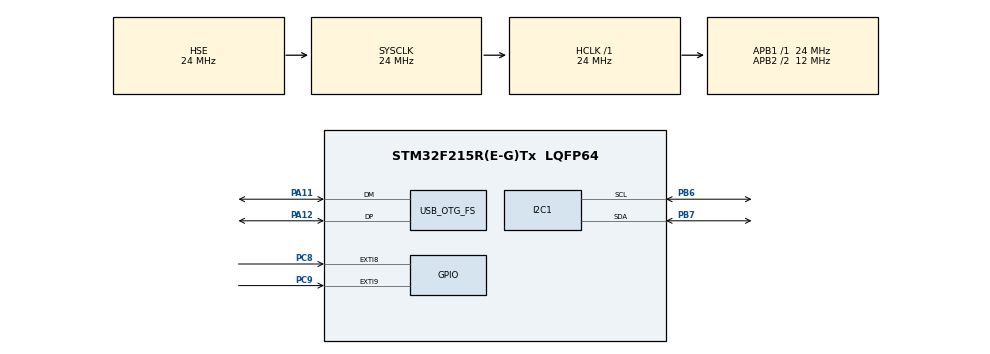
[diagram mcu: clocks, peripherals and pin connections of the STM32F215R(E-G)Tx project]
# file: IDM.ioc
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HASH.DataType=HASH_DATATYPE_8B
HASH.SecureHashAlgorithmType=SHA1
Mcu.Family=STM32F2
Mcu.Name=STM32F215R(E-G)Tx
Mcu.Package=LQFP64
NVIC.EXTI9_5_IRQn=true\:0\:0\:false\:false\:true\:true\:true
NVIC.OTG_FS_IRQn=true\:0\:0\:false\:false\:true\:false\:true
NVIC.PriorityGroup=NVIC_PRIORITYGROUP_4
NVIC.TIM6_DAC_IRQn=true\:0\:0\:false\:false\:true\:true\:true
PA11.Mode=Device_Only
PA11.Signal=USB_OTG_FS_DM
PA12.Mode=Device_Only
PA12.Signal=USB_OTG_FS_DP
PB6.Mode=I2C
PB6.Signal=I2C1_SCL
PB7.Mode=I2C
PB7.Signal=I2C1_SDA
PC8.Signal=GPXTI8
PC9.Signal=GPXTI9
PH0-OSC_IN.Mode=HSE-External-Oscillator
PH0-OSC_IN.Signal=RCC_OSC_IN
PH1-OSC_OUT.Mode=HSE-External-Oscillator
PH1-OSC_OUT.Signal=RCC_OSC_OUT
ProjectManager.HeapSize=0x200
ProjectManager.StackSize=0x400
ProjectManager.TargetToolchain=STM32CubeIDE
RCC.48MHZClocksFreq_Value=48000000
RCC.AHBFreq_Value=24000000
RCC.APB1Freq_Value=24000000
RCC.APB1TimFreq_Value=24000000
RCC.APB2CLKDivider=RCC_HCLK_DIV2
RCC.APB2Freq_Value=12000000
RCC.APB2TimFreq_Value=24000000
RCC.CortexFreq_Value=24000000
RCC.HCLKFreq_Value=24000000
RCC.HSE_VALUE=24000000
RCC.HSI_VALUE=16000000
RCC.LSE_VALUE=32768
RCC.PLLM=12
RCC.PLLP=RCC_PLLP_DIV4
RCC.PLLQ=8
RCC.PLLSourceVirtual=RCC_PLLSOURCE_HSE
RCC.SYSCLKFreq_VALUE=24000000
RCC.SYSCLKSource=RCC_SYSCLKSOURCE_HSE
RCC.VCOOutputFreq_Value=384000000
TIM6.Period=10
TIM6.Prescaler=24000
TIM6.TIM_MasterOutputTrigger=TIM_TRGO_UPDATE
USB_DEVICE.APP_RX_DATA_SIZE-CDC_FS=256
USB_DEVICE.APP_TX_DATA_SIZE-CDC_FS=256
USB_DEVICE.CLASS_NAME_FS=CDC
USB_DEVICE.USBD_MAX_STR_DESC_SIZ-CDC_FS=128
USB_DEVICE.VirtualMode-CDC_FS=Cdc
USB_DEVICE.VirtualModeFS=Cdc_FS
USB_OTG_FS.VirtualMode=Device_Only
VP_CRC_VS_CRC.Mode=CRC_Activate
VP_CRYP_VS_CRYP.Mode=CRYP_Activate
VP_HASH_VS_HASH.Mode=HASH_Activate
VP_RNG_VS_RNG.Mode=RNG_Activate
VP_TIM6_VS_ClockSourceINT.Mode=Enable_Timer
VP_USB_DEVICE_VS_USB_DEVICE_CDC_FS.Mode=CDC_FS
board=custom

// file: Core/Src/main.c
/* USER CODE BEGIN Header */
/**
 ******************************************************************************
 * @file           : main.c
 * @brief          : Main program body
 ******************************************************************************
 * @attention
 *
 * <h2><center>&copy; Copyright (c) 2020 STMicroelectronics.
 * All rights reserved.</center></h2>
 *
 * This software component is licensed by ST under BSD 3-Clause license,
 * the "License"; You may not use this file except in compliance with the
 * License. You may obtain a copy of the License at:
 *                        opensource.org/licenses/BSD-3-Clause
 *
 ******************************************************************************
 */
/* USER CODE END Header */

#include "main.h"
#include "usb_device.h"

/* USER CODE BEGIN Includes */
#include "data.h"

/* USER CODE END Includes */

CRC_HandleTypeDef hcrc;

CRYP_HandleTypeDef hcryp;
__ALIGN_BEGIN static const uint32_t pKeyCRYP[6] __ALIGN_END = { 0x00000000,
		0x00000000, 0x00000000, 0x00000000, 0x00000000, 0x00000000 };

HASH_HandleTypeDef hhash;

I2C_HandleTypeDef hi2c1;

RNG_HandleTypeDef hrng;

TIM_HandleTypeDef htim6;

/* USER CODE BEGIN PV */

char ghf[64];
uint16_t dictionarySeze = 500;
char *wordsForPassFrase[] = { "aiken", "durga", "essen", "evers", "haiti",
		"horus", "issus", "kamet", "klimt", "laius", "locke", "lorre", "lowry",
		"mamet", "marti", "medea", "niger", "oates", "potos", "quito", "senor",
		"turin", "ushas", "wells", "aboil", "acari", "acoma", "actin", "adage",
		"adeem", "adfix", "adion", "afore", "agasp", "aglet", "alans", "albin",
		"algic", "alody", "amide", "ample", "ancon", "anker", "annat", "annie",
		"anous", "aoife", "aotes", "argil", "aries", "arkab", "arneb", "artal",
		"arvel", "arzan", "astay", "atter", "avoid", "awash", "axion", "axoid",
		"ayond", "bache", "bahay", "bajra", "balai", "baloo", "bando", "barbe",
		"bayal", "beamy", "becut", "bedad", "beget", "belga", "bemad", "benne",
		"betta", "bezel", "birle", "blast", "blimp", "bloat", "bocal", "bodge",
		"bonny", "boose", "boral", "bortz", "bosom", "brass", "bring", "broll",
		"buddy", "bully", "bushy", "butch", "cajun", "canna", "canoe", "carol",
		"carse", "carya", "cased", "casse", "catti", "celom", "chaya", "cheve",
		"chips", "choel", "claim", "clary", "claut", "clava", "cleek", "cloot",
		"clove", "clump", "coapt", "cobia", "cobus", "cogue", "colla", "comma",
		"copsy", "corps", "covet", "crash", "cress", "creta", "crete", "croci",
		"daffy", "dafla", "darer", "deign", "denda", "dewey", "diner", "dinus",
		"disco", "dixit", "dizzy", "domal", "douar", "dover", "dreng", "dropt",
		"drown", "drunk", "dural", "dusun", "easer", "echis", "elmer", "elops",
		"elute", "elves", "embed", "emcee", "emmer", "envoy", "erian", "erick",
		"erose", "erupt", "every", "exdie", "fanon", "fanti", "fanwe", "fatal",
		"favus", "fedia", "feint", "fesse", "fiard", "finer", "fiver", "flame",
		"flare", "flary", "fleam", "fleet", "flesh", "flong", "foaly", "fogle",
		"forth", "fosse", "found", "freed", "freit", "fresh", "fritt", "frizz",
		"fubsy", "futon", "gaine", "ganch", "gatch", "genin", "genus", "gipon",
		"gippy", "given", "glaik", "gland", "glazy", "gledy", "gloom", "goban",
		"golee", "gorra", "gourd", "gouty", "grail", "grebo", "gripy", "gugal",
		"gypsy", "habit", "halse", "harpa", "herne", "hevea", "hocky", "howso",
		"humph", "ictic", "iddat", "idose", "illth", "imber", "infer", "inlaw",
		"innet", "input", "irfan", "irone", "itchy", "jaman", "jamie", "jenny",
		"jural", "kafiz", "kanji", "kapai", "kappe", "keleh", "kench", "khaya",
		"khoja", "kissy", "klosh", "known", "kodro", "kokio", "krems", "lacer",
		"lacet", "lairy", "lammy", "larch", "large", "lever", "ligas", "lived",
		"lobed", "loner", "lotta", "louey", "lowth", "lucan", "luigi", "lyard",
		"maggy", "mahdi", "maidy", "mamma", "manei", "mapau", "masty", "mayan",
		"mease", "merak", "merop", "metal", "metol", "miaul", "mikie", "minty",
		"misty", "moity", "mossy", "mourn", "moyen", "muffy", "namda", "nanes",
		"nanga", "nasch", "nasty", "navar", "nayar", "nazir", "nigre", "niqab",
		"niter", "norie", "nunni", "nuque", "nyxis", "oasal", "oasis", "ohmic",
		"onymy", "otary", "oxbow", "oxlip", "pacer", "padre", "padus", "palar",
		"palpi", "parra", "parse", "parts", "pasmo", "patly", "peasy", "peaty",
		"pedal", "peggy", "pekan", "penta", "pesky", "phase", "pinko", "pinky",
		"pinny", "plaga", "plaid", "plica", "plyer", "pokom", "pommy", "poria",
		"prase", "pudic", "puppy", "quart", "quoit", "raggy", "raker", "raman",
		"raphe", "rapic", "rebid", "rebus", "refan", "renet", "repew", "resay",
		"rewed", "richt", "rinse", "rohob", "rondo", "royal", "runed", "ryder",
		"sabra", "salma", "samen", "sanai", "sandy", "savor", "schwa", "sclaw",
		"scope", "scout", "scrim", "segno", "senci", "septi", "seral", "sereh",
		"serum", "seven", "shahi", "shiko", "shire", "shive", "shoya", "sided",
		"sidth", "sigeh", "simar", "sinew", "sirih", "skank", "skill", "slent",
		"slive", "snafu", "snake", "sneap", "spale", "spang", "spece", "sprig",
		"squab", "steri", "stilt", "stoff", "stong", "stosh", "strag", "stree",
		"strow", "stunk", "sturt", "suant", "suety", "surfy", "swile", "swoop",
		"tahil", "taich", "taler", "tangi", "tanti", "tanzy", "taraf", "techy",
		"tellt", "tenty", "terce", "terse", "tetum", "thatn", "thawy", "thymy",
		"tilde", "titar", "tizzy", "toity", "toned", "tongs", "torah", "torma",
		"trill", "trixy", "trope", "truck", "tryst", "tufty", "tumor", "turco",
		"uinal", "unhad", "unhid", "unket", "upend", "urare", "ureic", "utick",
		"vagas", "valve", "vealy", "vepse", "vibex", "vicar", "virtu", "volet",
		"volva", "vuggy", "wabby", "walth", "waltz", "wamus", "wawah", "weaky",
		"wendy", "whalp", "wheen", "while", "wined", "wings", "wisse", "words",
		"wrack", "wrive", "xylon", "yummy", "zanze", "ziega", "zonta" };

/* USER CODE END PV */

void SystemClock_Config(void);
static void MX_GPIO_Init(void);
static void MX_CRYP_Init(void);
static void MX_HASH_Init(void);
static void MX_I2C1_Init(void);
static void MX_RNG_Init(void);
static void MX_CRC_Init(void);
static void MX_TIM6_Init(void);

int main(void) {

	/* MCU Configuration--------------------------------------------------------*/

	/* Reset of all peripherals, Initializes the Flash interface and the Systick. */
	HAL_Init();

	/* Configure the system clock */
	SystemClock_Config();

	/* Initialize all configured peripherals */
	MX_GPIO_Init();
	MX_CRYP_Init();
	MX_HASH_Init();
	MX_I2C1_Init();
	MX_RNG_Init();
	MX_CRC_Init();
	MX_USB_DEVICE_Init();
	MX_TIM6_Init();
	/* USER CODE BEGIN 2 */
	ssd1306_Init();
	ssd1306_Fill(Black);
	uint8_t check = 0;
	uint8_t lokalcheck = 1;

	initConstants();

	ssd1306_UpdateScreen();

	HAL_Delay(500);
	if (isInit == 0) {
		deviceIsntInit();
	}

	else {
		if (ProtectType == 0) {
			Unlocked = 1;
			menuStatus = 1;
			initMenu();
		} else if (ProtectType == 1) {

			setPasswordStep2 = 1;
			passwordInputStatus = 1;
			setPasswordProcess2();
		} else if (ProtectType == 2) {

			ssd1306_Fill(Black);
			ssd1306_SetCursor(2, 2);
			ssd1306_WriteString("Conect device to", Font_7x10, White);
			ssd1306_SetCursor(2, 12);
			ssd1306_WriteString("your safe PC", Font_7x10, White);
			ssd1306_UpdateScreen();
			//

		} else if (ProtectType == 3) {

			ssd1306_Fill(Black);
			ssd1306_SetCursor(2, 2);
			ssd1306_WriteString("Conect device to", Font_7x10, White);
			ssd1306_SetCursor(2, 12);
			ssd1306_WriteString("your safe PC", Font_7x10, White);
			ssd1306_UpdateScreen();
			//

		}

	}

	/* USER CODE END 2 */

	/* Infinite loop */
	while (1) {

		/* USER CODE BEGIN 3 */

		HAL_Delay(300);
		if (dataReciveBufer[0] != 0) {
			//начать инициацию

			if (dataReciveBufer[0] == 'P') {

				if (M5PCIDdefaultIsGetted == 0) {
					for (uint8_t i = 0; i < 24; i++) {
						PCIDbuf[i] = dataReciveBufer[i + 2];
					}
					for (uint8_t i = 0; i < 24; i++) {
						PCIDOne[i] = PCIDbuf[i];
					}
					M5PCIDdefaultIsGetted = 1;
					M5PPCIDCount = 1;

					uploadPCIDmas();
					uploadPCIDcount();
					uploadIsfirstPC();
					CDC_Transmit_FS("OK", 2);

					initStatus = 1;
					initChoseProcess();
				} else if (addDeviceEnable == 1) {
					for (uint8_t i = 0; i < 24; i++) {
						PCIDbuf[i] = dataReciveBufer[i + 2];
					}
					downloadPCIDmas();
					downloadPCIDcount();
					lokalcheck = 1;
					check = 0;
					for (uint8_t i = 0; i < 24; i++) {
						if (PCIDbuf[i] != PCIDOne[i]) {
							check = 1;
						}
					}
					if (check == 0)
						lokalcheck = 0;
					check = 0;
					for (uint8_t i = 0; i < 24; i++) {
						if (PCIDbuf[i] != PCIDSeven[i]) {
							check = 1;
						}
					}
					if (check == 0)
						lokalcheck = 0;
					check = 0;
					for (uint8_t i = 0; i < 24; i++) {
						if (PCIDbuf[i] != PCIDSix[i]) {
							check = 1;
						}
					}
					if (check == 0)
						lokalcheck = 0;
					check = 0;
					for (uint8_t i = 0; i < 24; i++) {
						if (PCIDbuf[i] != PCIDFour[i]) {
							check = 1;
						}
					}
					if (check == 0)
						lokalcheck = 0;
					check = 0;
					for (uint8_t i = 0; i < 24; i++) {
						if (PCIDbuf[i] != PCIDFive[i]) {
							check = 1;
						}
					}
					if (check == 0)
						lokalcheck = 0;

					if (lokalcheck == 1) {
						if (M5PPCIDCount == 1) {
							M5PPCIDCount++;
							//PCIDSeven=PCIDbuf;
							for (uint8_t i = 0; i < 24; i++) {
								PCIDSeven[i] = PCIDbuf[i];
							}
							uploadPCIDmas();
							uploadPCIDcount();
							CDC_Transmit_FS("OK", 2);
						} else if (M5PPCIDCount == 2) {
							M5PPCIDCount++;
							//PCIDSix=PCIDbuf;
							for (uint8_t i = 0; i < 24; i++) {
								PCIDSix[i] = PCIDbuf[i];
							}
							uploadPCIDmas();
							uploadPCIDcount();
							CDC_Transmit_FS("OK", 2);
						} else if (M5PPCIDCount == 3) {
							M5PPCIDCount++;
							//PCIDFour=PCIDbuf;
							for (uint8_t i = 0; i < 24; i++) {
								PCIDFour[i] = PCIDbuf[i];
							}
							uploadPCIDmas();
							uploadPCIDcount();
							CDC_Transmit_FS("OK", 2);
						} else if (M5PPCIDCount == 4) {
							M5PPCIDCount++;
							//PCIDFive=PCIDbuf;
							for (uint8_t i = 0; i < 24; i++) {
								PCIDFive[i] = PCIDbuf[i];
							}
							uploadPCIDmas();
							uploadPCIDcount();
							CDC_Transmit_FS("OK", 2);
						} else if (M5PPCIDCount == 5) {
							CDC_Transmit_FS("Your cant add new device", 26);
						}
						addDeviceEnable = 0;
						uploadaddDeviceEnable();
					} else {
						CDC_Transmit_FS("The device already added", 26);
						addDeviceEnable = 0;
						uploadaddDeviceEnable();
					}
				}

				else {
					for (uint32_t i = 0; i < 24; i++) {
						PCIDbuf[i] = dataReciveBufer[i + 2];
					}
					downloadPCIDmas();
					downloadPCIDcount();
					lokalcheck = 1;
					check = 0;
					for (uint8_t i = 0; i < 24; i++) {
						if (PCIDbuf[i] != PCIDOne[i]) {
							check = 1;
						}
					}
					if (check == 0)
						lokalcheck = 0;
					check = 0;
					for (uint8_t i = 0; i < 24; i++) {
						if (PCIDbuf[i] != PCIDSeven[i]) {
							check = 1;
						}
					}
					if (check == 0)
						lokalcheck = 0;
					check = 0;
					for (uint8_t i = 0; i < 24; i++) {
						if (PCIDbuf[i] != PCIDSix[i]) {
							check = 1;
						}
					}
					if (check == 0)
						lokalcheck = 0;
					check = 0;
					for (uint8_t i = 0; i < 24; i++) {
						if (PCIDbuf[i] != PCIDFour[i]) {
							check = 1;
						}
					}
					if (check == 0)
						lokalcheck = 0;
					check = 0;
					for (uint8_t i = 0; i < 24; i++) {
						if (PCIDbuf[i] != PCIDFive[i]) {
							check = 1;
						}
					}
					if (check == 0)
						lokalcheck = 0;

					if (lokalcheck == 0) {
						CDC_Transmit_FS("OK", 2);
						if (ProtectType == 2) {
							Unlocked = 1;
							menuStatus = 1;
							initMenu();

						} else if (ProtectType == 3) {
							setPasswordStep2 = 1;
							passwordInputStatus = 1;
							setPasswordProcess2();
						}
						//HAL_Delay(1000);
						//CDC_Transmit_FS("NO", 2);
					} else {
						//CDC_Transmit_FS("Your devise is unsuported", 26);
						CDC_Transmit_FS("NO", 2);
					}
				}

				//CDC_Transmit_FS("OK", 2);

			}

			if (Unlocked == 1) {
				//добавить идент. данные
				if (dataReciveBufer[0] == 'N') {
					char str[64] = "";
					uint8_t pasgen[37] = "";
					uint8_t domen[16];
					for (uint32_t i = 0; i < 16; i++) {
						str[i] = dataReciveBufer[i + 18];
						domen[i] = dataReciveBufer[i + 18];
					}
					downloadPrivate();
					//uint8_t pasgen[37];
					for (int i = 0; i < 20; i++) {
						pasgen[i] = privateKey[i];
					}
					for (int i = 20; i < 36; i++) {
						pasgen[i] = dataReciveBufer[i - 2];
					}
					pasgen[16] = (uint8_t) privateKey
							& (uint8_t) domen + (uint8_t) 1;
					HAL_HASH_Init(&hhash);
					HAL_HASH_SHA1_Start(&hhash, &pasgen, 36, &bufer,
							HAL_MAX_DELAY);
					HASH_Finish(&hhash, &bufer, HAL_MAX_DELAY);
					char pass[16];
					for (int i = 0; i < 16; i++) {
						pass[i] = bufer[i];
						bufer[i] = 0;
					}

					for (uint32_t i = 16; i < 32; i++) {
						str[i] = pass[i - 16];
					}
					for (uint32_t i = 32; i < 48; i++) {
						str[i] = dataReciveBufer[i - 30];
					}
					char iter[16] = "1               ";
					for (uint32_t i = 48; i < 64; i++) {
						str[i] = iter[i - 48];
					}
					//str[0]=DataCount;
					writeToEeprom(0x1000 + DataCount * 64, str, 64);
					DataCount++;
					uploadDataCount();
					accauntBlock blocksbuf[DataCount + 1];
					for (uint16_t i = 0; i < DataCount; i++) {

						readFromEeprom(0x1000 + 64 * i, bufer2, 64);
						stringToStruct(&bufer2, &blocksbuf[i]);
					}
					menu.blocks = blocksbuf;
					CDC_Transmit_FS(str, 64);

					if (menuStatus) {
						updateScreen();
					}

				}
				//импорт
				if (dataReciveBufer[0] == 'I') {
					if (dataTransferEnable == 1) {
						HAL_Delay(10);
						CDC_Transmit_FS("begin(", 6);
						for (uint16_t i = 0; i < DataCount; i++) {
							char buf[16] = "abc";
							readFromEeprom(0x1000 + 64 * i, buf, 16);
							HAL_Delay(10);
							CDC_Transmit_FS(buf, 16);
							HAL_Delay(10);
							readFromEeprom(0x1000 + 64 * i + 32, buf, 32);
							HAL_Delay(10);
							CDC_Transmit_FS(buf, 32);
							HAL_Delay(10);
						}
						HAL_Delay(10);
						CDC_Transmit_FS(")end", 4);
						HAL_Delay(10);
						CDC_Transmit_FS("OK", 2);
					} else {
						CDC_Transmit_FS("You need Export Mode", 21);
					}
				}
				//сброс
				if (dataReciveBufer[0] == 'C') {
					//clearDevice();
					clearDevice();
					deviceIsntInit();
					CDC_Transmit_FS("OK", 2);
				}
				//добавить безопасный ПК
				if (dataReciveBufer[0] == 'A') {
					addDeviceEnable = 1;
					uploadaddDeviceEnable();
					// downloadaddDeviceEnable(); uploadaddDeviceEnable();
					CDC_Transmit_FS("OK", 2);
				}
			}
			for (uint32_t i = 0; i < usbBuferSize; i++) {
				dataReciveBufer[i] = 0;
			}
		} else {
			//	ssd1306_SetCursor(2,2);
			// 	ssd1306_WriteString("0", Font_7x10, White);
			//	ssd1306_UpdateScreen();
		}

	}

	/* USER CODE END 3 */
}

void SystemClock_Config(void) {
	RCC_OscInitTypeDef RCC_OscInitStruct = { 0 };
	RCC_ClkInitTypeDef RCC_ClkInitStruct = { 0 };

	/** Initializes the CPU, AHB and APB busses clocks
	 */
	RCC_OscInitStruct.OscillatorType = RCC_OSCILLATORTYPE_HSE;
	RCC_OscInitStruct.HSEState = RCC_HSE_ON;
	RCC_OscInitStruct.PLL.PLLState = RCC_PLL_ON;
	RCC_OscInitStruct.PLL.PLLSource = RCC_PLLSOURCE_HSE;
	RCC_OscInitStruct.PLL.PLLM = 12;
	RCC_OscInitStruct.PLL.PLLN = 192;
	RCC_OscInitStruct.PLL.PLLP = RCC_PLLP_DIV4;
	RCC_OscInitStruct.PLL.PLLQ = 8;
	if (HAL_RCC_OscConfig(&RCC_OscInitStruct) != HAL_OK) {
		Error_Handler();
	}
	/** Initializes the CPU, AHB and APB busses clocks
	 */
	RCC_ClkInitStruct.ClockType = RCC_CLOCKTYPE_HCLK | RCC_CLOCKTYPE_SYSCLK
			| RCC_CLOCKTYPE_PCLK1 | RCC_CLOCKTYPE_PCLK2;
	RCC_ClkInitStruct.SYSCLKSource = RCC_SYSCLKSOURCE_HSE;
	RCC_ClkInitStruct.AHBCLKDivider = RCC_SYSCLK_DIV1;
	RCC_ClkInitStruct.APB1CLKDivider = RCC_HCLK_DIV1;
	RCC_ClkInitStruct.APB2CLKDivider = RCC_HCLK_DIV2;

	if (HAL_RCC_ClockConfig(&RCC_ClkInitStruct, FLASH_LATENCY_0) != HAL_OK) {
		Error_Handler();
	}
}

static void MX_CRC_Init(void) {

	hcrc.Instance = CRC;
	if (HAL_CRC_Init(&hcrc) != HAL_OK) {
		Error_Handler();
	}

}

static void MX_CRYP_Init(void) {

	/* USER CODE BEGIN CRYP_Init 0 */
	hcryp.Init.pKey = "test";
	/* USER CODE END CRYP_Init 0 */

	hcryp.Instance = CRYP;
	hcryp.Init.DataType = CRYP_DATATYPE_32B;
	hcryp.Init.pKey = (uint32_t*) pKeyCRYP;
	hcryp.Init.Algorithm = CRYP_TDES_ECB;
	hcryp.Init.DataWidthUnit = CRYP_DATAWIDTHUNIT_WORD;
	if (HAL_CRYP_Init(&hcryp) != HAL_OK) {
		Error_Handler();
	}

}

static void MX_HASH_Init(void) {

	hhash.Init.DataType = HASH_DATATYPE_8B;
	if (HAL_HASH_Init(&hhash) != HAL_OK) {
		Error_Handler();
	}

}

static void MX_I2C1_Init(void) {

	hi2c1.Instance = I2C1;
	hi2c1.Init.ClockSpeed = 100000;
	hi2c1.Init.DutyCycle = I2C_DUTYCYCLE_2;
	hi2c1.Init.OwnAddress1 = 0;
	hi2c1.Init.AddressingMode = I2C_ADDRESSINGMODE_7BIT;
	hi2c1.Init.DualAddressMode = I2C_DUALADDRESS_DISABLE;
	hi2c1.Init.OwnAddress2 = 0;
	hi2c1.Init.GeneralCallMode = I2C_GENERALCALL_DISABLE;
	hi2c1.Init.NoStretchMode = I2C_NOSTRETCH_DISABLE;
	if (HAL_I2C_Init(&hi2c1) != HAL_OK) {
		Error_Handler();
	}

}

static void MX_RNG_Init(void) {

	hrng.Instance = RNG;
	if (HAL_RNG_Init(&hrng) != HAL_OK) {
		Error_Handler();
	}

}

static void MX_TIM6_Init(void) {

	TIM_MasterConfigTypeDef sMasterConfig = { 0 };

	htim6.Instance = TIM6;
	htim6.Init.Prescaler = 24000;
	htim6.Init.CounterMode = TIM_COUNTERMODE_UP;
	htim6.Init.Period = 10;
	htim6.Init.AutoReloadPreload = TIM_AUTORELOAD_PRELOAD_DISABLE;
	if (HAL_TIM_Base_Init(&htim6) != HAL_OK) {
		Error_Handler();
	}
	sMasterConfig.MasterOutputTrigger = TIM_TRGO_UPDATE;
	sMasterConfig.MasterSlaveMode = TIM_MASTERSLAVEMODE_DISABLE;
	if (HAL_TIMEx_MasterConfigSynchronization(&htim6, &sMasterConfig)
			!= HAL_OK) {
		Error_Handler();
	}

}

static void MX_GPIO_Init(void) {
	GPIO_InitTypeDef GPIO_InitStruct = { 0 };

	/* GPIO Ports Clock Enable */
	__HAL_RCC_GPIOH_CLK_ENABLE();
	__HAL_RCC_GPIOC_CLK_ENABLE();
	__HAL_RCC_GPIOA_CLK_ENABLE();
	__HAL_RCC_GPIOB_CLK_ENABLE();

	/*Configure GPIO pins : PC8 PC9 */
	GPIO_InitStruct.Pin = GPIO_PIN_8 | GPIO_PIN_9;
	GPIO_InitStruct.Mode = GPIO_MODE_IT_RISING;
	GPIO_InitStruct.Pull = GPIO_NOPULL;
	HAL_GPIO_Init(GPIOC, &GPIO_InitStruct);

	/* EXTI interrupt init*/
	HAL_NVIC_SetPriority(EXTI9_5_IRQn, 0, 0);
	HAL_NVIC_EnableIRQ(EXTI9_5_IRQn);

}

/* USER CODE BEGIN 4 */
void HAL_GPIO_EXTI_Callback(uint16_t GPIO_Pin) {
	if (GPIO_Pin == GPIO_PIN_8 && !leftButtonStatus) {
		HAL_TIM_Base_Stop(&htim6);
		tim6_counter = 0;
		leftButtonStatus = 1;
		HAL_TIM_Base_Start(&htim6);
		HAL_TIM_Base_Start_IT(&htim6);
	}
	if (GPIO_Pin == GPIO_PIN_9 && !rightButtonStatus) {
		HAL_TIM_Base_Stop(&htim6);
		tim6_counter = 0;
		rightButtonStatus = 1;
		HAL_TIM_Base_Start(&htim6);
		HAL_TIM_Base_Start_IT(&htim6);
	}
	if (rightButtonStatus && leftButtonStatus) {
		bothButtonStatus = 1;
	}
}

void changePasswordData() {

	//CDC_Transmit_FS(menu.blocks[menu.pointer].login, 16);
	//CDC_Transmit_FS(menu.blocks[menu.pointer].url, 16);
	//CDC_Transmit_FS(menu.blocks[menu.pointer].number, 16);
	//char buf[37];
	//char buf[64];
	char hashbuf[20];
	char prepass[37];
	char str[64];
	for (uint8_t l = 0; l < 64; l++) {
		str[l] = 0;
	}
	readFromEeprom(0x1000 + 64 * (menu.pointer), &str, 64);
	downloadPrivate();
	//CDC_Transmit_FS(str, 64);
	for (uint8_t l = 0; l < 20; l++) {
		prepass[l] = privateKey[l];
	}
	for (uint8_t l = 0; l < 16; l++) {
		prepass[20 + l] = str[l];
	}
	uint8_t num = (uint8_t) str[48];
	num++;
	str[48] = num;
	prepass[36] = num;
	HAL_HASH_Init(&hhash);
	HAL_HASH_SHA1_Start(&hhash, prepass, 37, hashbuf, HAL_MAX_DELAY);
	HASH_Finish(&hhash, hashbuf, HAL_MAX_DELAY);
	HAL_HASH_Init(&hhash);
	for (uint8_t l = 0; l < 16; l++) {
		str[l + 16] = hashbuf[l + 3];
	}
	CDC_Transmit_FS(hashbuf, 20);
	writeToEeprom(0x1000 + 64 * (menu.pointer), str, 64);

	accauntBlock blocks[DataCount];
	for (uint16_t i = 0; i < DataCount; i++) {
		char buf[64] = "";
		readFromEeprom(0x1000 + 64 * i, buf, 64);
		stringToStruct(&buf, &blocks[i]);
	}
	menu.blocks = blocks;

}

void leftButtonActions() {
	//ssd1306_SetCursor(10, 0);
	//ssd1306_WriteString("L", Font_7x10, White);
	//ssd1306_UpdateScreen();
	if (menuStatus) {
		menu.pointer--;
		updateScreen();
	} else if (initStatus) {
		initProcess1();
	} else if (initStatusStep1) {
		//initProcess1Next();
	} else if (initStatusStep2) {
		initStatus = 1;
		initStatusStep2 = 0;
		initProcess1();
	} else if (setPasswordStep1) {
		setPasswordProcess1Down();
	} else if (setPasswordStep2) {
		setPasswordProcess1Down();
	} else if (restoreStatusStep1) {
		initStatus = 1;
		restoreStatusStep1 = 0;
		initChoseProcess();
	} else if (setProtectTypeStep1) {
		setProtectTypeProcess1Down();
	} else if (settingsMenuStatus) {
		settingsMenuDown();
	} else if (dataControlMenuStatus) {
		dataControlMenuDown();
	} else if (ResetComand) {
		settingsMenuStatus = 1;
		ResetComand = 0;
		settingsMenu();
	} else if (dataTransferEnable) {
		dataTransferEnable = 0;
		settingsMenuStatus = 1;

		settingsMenu();
	} else if (DataInfoMenu) {
		DataInfoMenu = 0;
		dataControlMenuStatus = 1;
		dataControlMenu();
	}
}

void rightButtonActions() {
//	ssd1306_SetCursor(24, 0);
//	ssd1306_WriteString("R", Font_7x10, White);
//	ssd1306_UpdateScreen();
	if (menuStatus) {
		menu.pointer++;
		updateScreen();
	} else if (initStatus) {
		restoreProcess1();
	} else if (initStatusStep1) {
		//initProcess1Next();
	} else if (initStatusStep2) {
		initProcess2Next();
	} else if (setPasswordStep1) {
		setPasswordProcess1Up();
	} else if (setPasswordStep2) {
		setPasswordProcess1Up();
	} else if (restoreStatusStep1) {
		initStatus = 1;
		restoreStatusStep1 = 0;
		initChoseProcess();
	} else if (setProtectTypeStep1) {
		setProtectTypeProcess1Up();
	} else if (settingsMenuStatus) {
		settingsMenuUp();
	} else if (dataControlMenuStatus) {
		dataControlMenuUp();
	} else if (ResetComand) {
		settingsMenuStatus = 0;
		ResetComand = 0;
		clearDevice();
		deviceIsntInit();
	} else if (dataTransferEnable) {
		dataTransferEnable = 0;
		settingsMenuStatus = 1;

		settingsMenu();
	} else if (DataInfoMenu) {
		DataInfoMenu = 0;
		dataControlMenuStatus = 1;
		dataControlMenu();
	}
	//endDataPointer++;
}

void bothButtonActions() {
	//ssd1306_SetCursor(17, 0);
	//ssd1306_WriteString("B", Font_7x10, White);
	//ssd1306_UpdateScreen();
	//initProcess1();
	if (menuStatus) {
		chooseMainMenu();
	} else if (initStatus) {
		//initProcess1();
	} else if (initStatusStep1) {
		initProcess1Next();
	} else if (setPasswordStep1) {
		setPasswordProcess1Next();
	} else if (setPasswordStep2) {
		setPasswordProcess2Next();
	} else if (restoreStatusStep1) {
		initStatus = 1;
		restoreStatusStep1 = 0;
		initChoseProcess();
	} else if (setProtectTypeStep1) {
		setProtectTypeProcess1Next();
	} else if (settingsMenuStatus) {
		settingsMenuSelect();
	} else if (dataControlMenuStatus) {
		dataControlMenuSelect();
	} else if (ResetComand) {

	} else if (dataTransferEnable) {
		dataTransferEnable = 0;
		settingsMenuStatus = 1;

		settingsMenu();
	} else if (DataInfoMenu) {
		DataInfoMenu = 0;
		dataControlMenuStatus = 1;
		dataControlMenu();
	}
}

void generatePassFrase() {
	uint16_t num;
	uint16_t bfstr[60];
	generateRandomNumbers(500, 0xfff);
	for (int i = 0; i < 12; i++) {
		passFrase[i] = wordsForPassFrase[RNGNumbers[i]];
	}
	for (int i = 0; i < 12; i++) {
		for (int j = 0; j < 5; j++) {
			bfstr[i * 5 + j] = passFrase[i][j];
		}
	}
	HAL_HASH_Init(&hhash);
	HAL_HASH_SHA1_Start(&hhash, &bfstr, 60, &privateKey, HAL_MAX_DELAY);
	HASH_Finish(&hhash, &privateKey, HAL_MAX_DELAY);
	HAL_HASH_DeInit(&hhash);
	HAL_HASH_Init(&hhash);
	HAL_HASH_SHA1_Start(&hhash, &privateKey, 60, &publicKey, HAL_MAX_DELAY);
	HASH_Finish(&hhash, &publicKey, HAL_MAX_DELAY);
	HAL_HASH_DeInit(&hhash);

	uploadPrivate();
	uploadadPublic();
}

void generateRandomNumbers(uint16_t blocknumber, uint16_t filter) {
	uint16_t j = 0;
	for (uint16_t i = 0; i < 12; i++) {
		RNGNumbers[i] = HAL_RNG_GetRandomNumber(&hrng) & filter;
		//isOk=0;
		while ((RNGNumbers[i] >= blocknumber)) {
			RNGNumbers[i] = HAL_RNG_GetRandomNumber(&hrng) & filter;
		}

	}
	for (uint16_t i = 0; i < 12; i++) {
		j = 0;
		while (j < i) {
			if (RNGNumbers[i] == RNGNumbers[j]
					|| (RNGNumbers[i] >= blocknumber)) {
				RNGNumbers[i] = HAL_RNG_GetRandomNumber(&hrng) & filter;
				j = 0;
			} else
				j++;
		}
	}
}

/* USER CODE END 4 */

void Error_Handler(void) {
}

/************************ (C) COPYRIGHT STMicroelectronics *****END OF FILE****/
